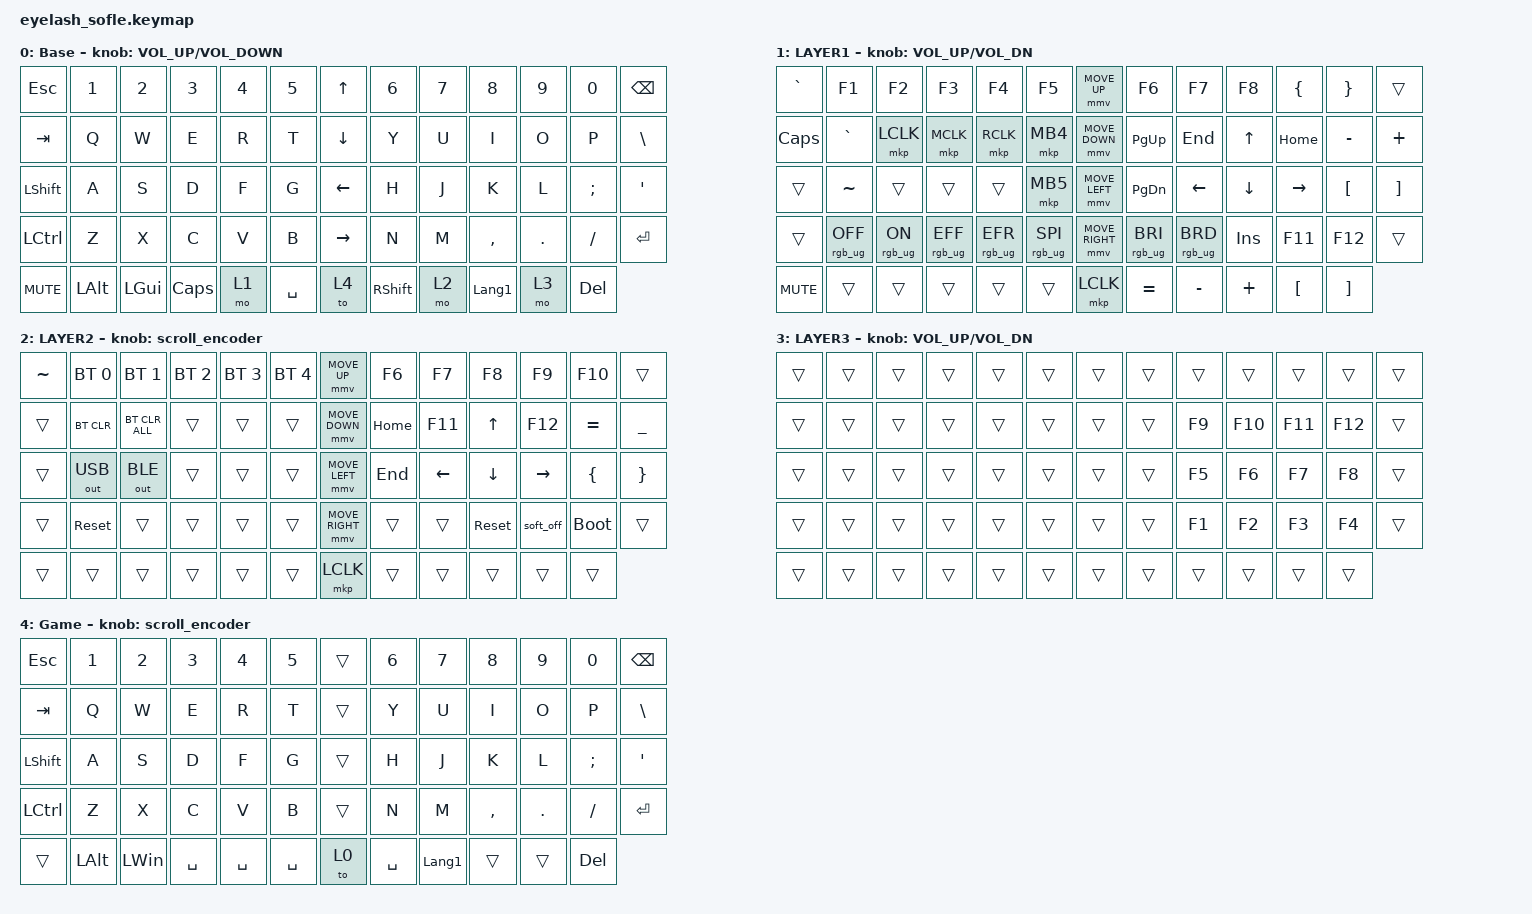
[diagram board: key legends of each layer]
#define ZMK_POINTING_DEFAULT_MOVE_VAL 1200  // 600
#define ZMK_POINTING_DEFAULT_SCRL_VAL 25   // 10

#include <input/processors.dtsi>
#include <zephyr/dt-bindings/input/input-event-codes.h>
#include <behaviors.dtsi>
#include <dt-bindings/zmk/bt.h>
#include <dt-bindings/zmk/keys.h>
#include <dt-bindings/zmk/outputs.h>
#include <dt-bindings/zmk/pointing.h>
#include <dt-bindings/zmk/rgb.h>

&mmv_input_listener { input-processors = <&zip_xy_scaler 2 1>; };

&msc_input_listener { input-processors = <&zip_scroll_scaler 2 1>; };

&msc {
    acceleration-exponent = <1>;      // 0
    time-to-max-speed-ms = <100>;       // 300
    delay-ms = <0>;                   // 0
};

&mmv {
    time-to-max-speed-ms = <500>;
    acceleration-exponent = <1>;
    trigger-period-ms = <16>;
};

&soft_off { hold-time-ms = <2000>; };

/ {
    scroll_encoder: scroll_encoder {
        compatible = "zmk,behavior-sensor-rotate";
        #sensor-binding-cells = <0>;
        bindings = <&msc SCRL_DOWN>, <&msc SCRL_UP>;

        tap-ms = <100>;
    };

    behaviors {
    };

    combos {
        compatible = "zmk,combos";

        softoff {
            bindings = <&soft_off>;
            key-positions = <14 28 40>;
        };
    };

    macros {
        SHIFT_MCLK: SHIFT_MCLK {
            compatible = "zmk,behavior-macro";
            #binding-cells = <0>;
            bindings =
                <&macro_press>,
                <&kp LEFT_SHIFT>,
                <&macro_press>,
                <&mkp MB3>,
                <&macro_pause_for_release>,
                <&macro_release>,
                <&kp LEFT_SHIFT &mkp MB3>;

            label = "SHIFT_MCLK";
        };
    };

    keymap {
        compatible = "zmk,keymap";

        Base {
            bindings = <
&kp ESC           &kp N1        &kp N2        &kp N3        &kp N4  &kp N5       &kp UP_ARROW     &kp N6           &kp N7  &kp N8          &kp N9   &kp N0      &kp BACKSPACE
&kp TAB           &kp Q         &kp W         &kp E         &kp R   &kp T        &kp DOWN_ARROW   &kp Y            &kp U   &kp I           &kp O    &kp P       &kp BSLH
&kp LEFT_SHIFT    &kp A         &kp S         &kp D         &kp F   &kp G        &kp LEFT_ARROW   &kp H            &kp J   &kp K           &kp L    &kp SEMI    &kp APOS
&kp LEFT_CONTROL  &kp Z         &kp X         &kp C         &kp V   &kp B        &kp RIGHT_ARROW  &kp N            &kp M   &kp COMMA       &kp DOT  &kp FSLH    &kp ENTER
&kp C_MUTE        &kp LEFT_ALT  &kp LEFT_GUI  &kp CAPSLOCK  &mo 1   &kp SPACE    &to 4            &kp RIGHT_SHIFT  &mo 2   &kp LANGUAGE_1  &mo 3    &kp DELETE
            >;

            sensor-bindings = <&inc_dec_kp C_VOLUME_UP C_VOLUME_DOWN>;
            display-name = "Base";
        };

        L1 {
            bindings = <
&kp GRAVE     &kp F1           &kp F2          &kp F3           &kp F4           &kp F5             &mmv MOVE_UP     &kp F6           &kp F7           &kp F8      &kp LEFT_BRACE    &kp RIGHT_BRACE    &trans
&kp CAPSLOCK  &kp GRAVE        &mkp LCLK       &mkp MCLK        &mkp RCLK        &mkp MB4           &mmv MOVE_DOWN   &kp PG_UP        &kp END          &kp UP      &kp HOME          &kp MINUS          &kp PLUS
&trans        &kp TILDE        &trans          &trans           &trans           &mkp MB5           &mmv MOVE_LEFT   &kp PG_DN        &kp LEFT         &kp DOWN    &kp RIGHT         &kp LEFT_BRACKET   &kp RIGHT_BRACKET
&trans        &rgb_ug RGB_OFF  &rgb_ug RGB_ON  &rgb_ug RGB_EFF  &rgb_ug RGB_EFR  &rgb_ug RGB_SPI    &mmv MOVE_RIGHT  &rgb_ug RGB_BRI  &rgb_ug RGB_BRD  &kp INSERT  &kp F11           &kp F12            &trans
&kp C_MUTE    &trans           &trans          &trans           &trans           &trans             &mkp LCLK        &kp EQUAL        &kp MINUS        &kp PLUS    &kp LEFT_BRACKET  &kp RIGHT_BRACKET
            >;

            sensor-bindings = <&inc_dec_kp C_VOLUME_UP C_VOL_DN>;
            display-name = "LAYER1";
        };

        L2 {
            bindings = <
&kp TILDE  &bt BT_SEL 0  &bt BT_SEL 1    &bt BT_SEL 2  &bt BT_SEL 3  &bt BT_SEL 4    &mmv MOVE_UP     &kp F6    &kp F7          &kp F8          &kp F9           &kp F10      &trans
&trans     &bt BT_CLR    &bt BT_CLR_ALL  &trans        &trans        &trans          &mmv MOVE_DOWN   &kp HOME  &kp F11         &kp UP_ARROW    &kp F12          &kp EQUAL    &kp UNDERSCORE
&trans     &out OUT_USB  &out OUT_BLE    &trans        &trans        &trans          &mmv MOVE_LEFT   &kp END   &kp LEFT_ARROW  &kp DOWN_ARROW  &kp RIGHT_ARROW  &kp LBRC     &kp RBRC
&trans     &sys_reset    &trans          &trans        &trans        &trans          &mmv MOVE_RIGHT  &trans    &trans          &sys_reset      &soft_off        &bootloader  &trans
&trans     &trans        &trans          &trans        &trans        &trans          &mkp LCLK        &trans    &trans          &trans          &trans           &trans
            >;

            display-name = "LAYER2";
            sensor-bindings = <&scroll_encoder>;
        };

        layer_3 {
            bindings = <
&trans  &trans  &trans  &trans  &trans  &trans    &trans  &trans  &trans  &trans   &trans   &trans   &trans
&trans  &trans  &trans  &trans  &trans  &trans    &trans  &trans  &kp F9  &kp F10  &kp F11  &kp F12  &trans
&trans  &trans  &trans  &trans  &trans  &trans    &trans  &trans  &kp F5  &kp F6   &kp F7   &kp F8   &trans
&trans  &trans  &trans  &trans  &trans  &trans    &trans  &trans  &kp F1  &kp F2   &kp F3   &kp F4   &trans
&trans  &trans  &trans  &trans  &trans  &trans    &trans  &trans  &trans  &trans   &trans   &trans
            >;

            display-name = "LAYER3";
            sensor-bindings = <&inc_dec_kp C_VOLUME_UP C_VOL_DN>;
        };

        Game {
            bindings = <
&kp ESC         &kp N1    &kp N2        &kp N3     &kp N4     &kp N5       &trans  &kp N6     &kp N7          &kp N8     &kp N9   &kp N0      &kp BACKSPACE
&kp TAB         &kp Q     &kp W         &kp E      &kp R      &kp T        &trans  &kp Y      &kp U           &kp I      &kp O    &kp P       &kp BACKSLASH
&kp LEFT_SHIFT  &kp A     &kp S         &kp D      &kp F      &kp G        &trans  &kp H      &kp J           &kp K      &kp L    &kp SEMI    &kp APOS
&kp LCTRL       &kp Z     &kp X         &kp C      &kp V      &kp B        &trans  &kp N      &kp M           &kp COMMA  &kp DOT  &kp FSLH    &kp ENTER
&trans          &kp LALT  &kp LEFT_WIN  &kp SPACE  &kp SPACE  &kp SPACE    &to 0   &kp SPACE  &kp LANGUAGE_1  &trans     &trans   &kp DELETE
            >;

            display-name = "Game";
            sensor-bindings = <&scroll_encoder>;
        };
    };
};
